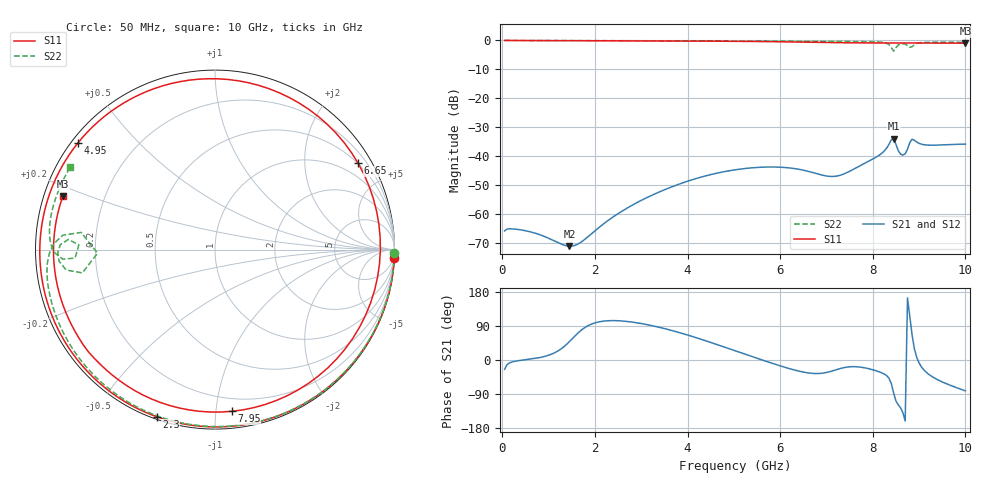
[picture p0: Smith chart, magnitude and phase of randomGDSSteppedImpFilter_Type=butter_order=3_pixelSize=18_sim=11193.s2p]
! freq	dB(S11)	phase(S11)	dB(S12)	phase(S12)
!  dB(S21)	phase(S21)	dB(S22)	phase(S22)
!S-par simulation data
#  GHz  S  DB  R 50
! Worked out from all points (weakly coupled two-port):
!   200 points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, 50 MHz to 10 GHz, reference 50 ohm
!   highest |S21| = -33.83 dB at 8.45 GHz (marker M1); lowest = -70.9 dB at 1.45 GHz (marker M2)
!   lowest |S11| = -0.9 dB at 10 GHz (marker M3), VSWR 18.66, Z = 2.76 + j8.47 ohm
!   |S11| at or under -10 dB: nowhere
!   |S22| runs from -3.7 to 0.0 dB; largest |S21 - S12| = 0
!   S11 on the Smith chart (normalised r, x): 50 MHz: 0, -44; 2.3 GHz: 0.01, -0.71; 4.95 GHz: 0.02, +0.34; 6.65 GHz: 0.49, +3.53; 7.95 GHz: 0.11, -1.10; 10 GHz: 0.06, +0.17
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0.05  -0.00 -2.6  -65.66 -24.7  -65.66 -24.7  -0.00 -1.2
0.65  -0.03 -33.5  -66.18 3.1  -66.18 3.1  -0.02 -15.1
1.45  -0.09 -72.2  -70.95 48.6  -70.95 48.6  -0.04 -33.4
1.75  -0.10 -85.7  -68.97 82.8  -68.97 82.8  -0.05 -40.2
2.3  -0.12 -109.3  -61.91 103.7  -61.91 103.7  -0.07 -52.3
3.4  -0.17 -153.0  -52.18 86.0  -52.18 86.0  -0.10 -75.9
4.2  -0.22 175.2  -47.55 58.4  -47.55 58.4  -0.13 -92.3
4.95  -0.28 142.3  -44.81 27.7  -44.81 27.7  -0.16 -107.3
5.05  -0.30 137.4  -44.56 23.5  -44.56 23.5  -0.17 -109.3
5.95  -0.44 85.6  -43.68 -13.5  -43.68 -13.5  -0.22 -127.0
6.65  -0.62 31.1  -45.32 -34.8  -45.32 -34.8  -0.27 -140.9
6.7  -0.63 26.7  -45.54 -35.4  -45.54 -35.4  -0.28 -141.9
7.25  -0.77 -23.6  -46.68 -24.2  -46.68 -24.2  -0.33 -153.1
7.6  -0.83 -55.1  -44.29 -17.5  -44.29 -17.5  -0.38 -160.7
7.95  -0.86 -84.1  -41.32 -24.1  -41.32 -24.1  -0.45 -169.2
8.35  -0.87 -113.1  -35.80 -48.2  -35.80 -48.2  -1.39 174.6
8.45  -0.88 -119.7  -33.83 -86.6  -33.83 -86.6  -3.68 -178.2
8.5  -0.88 -122.9  -35.80 -108.2  -35.80 -108.2  -2.49 -170.0
8.65  -0.88 -132.1  -39.54 -138.8  -39.54 -138.8  -1.14 -178.9
8.85  -0.86 -143.9  -34.08 65.1  -34.08 65.1  -2.14 -176.5
9.1  -0.90 -157.4  -35.94 -25.8  -35.94 -25.8  -0.67 175.1
10  -0.93 160.7  -35.74 -81.3  -35.74 -81.3  -0.65 150.2
